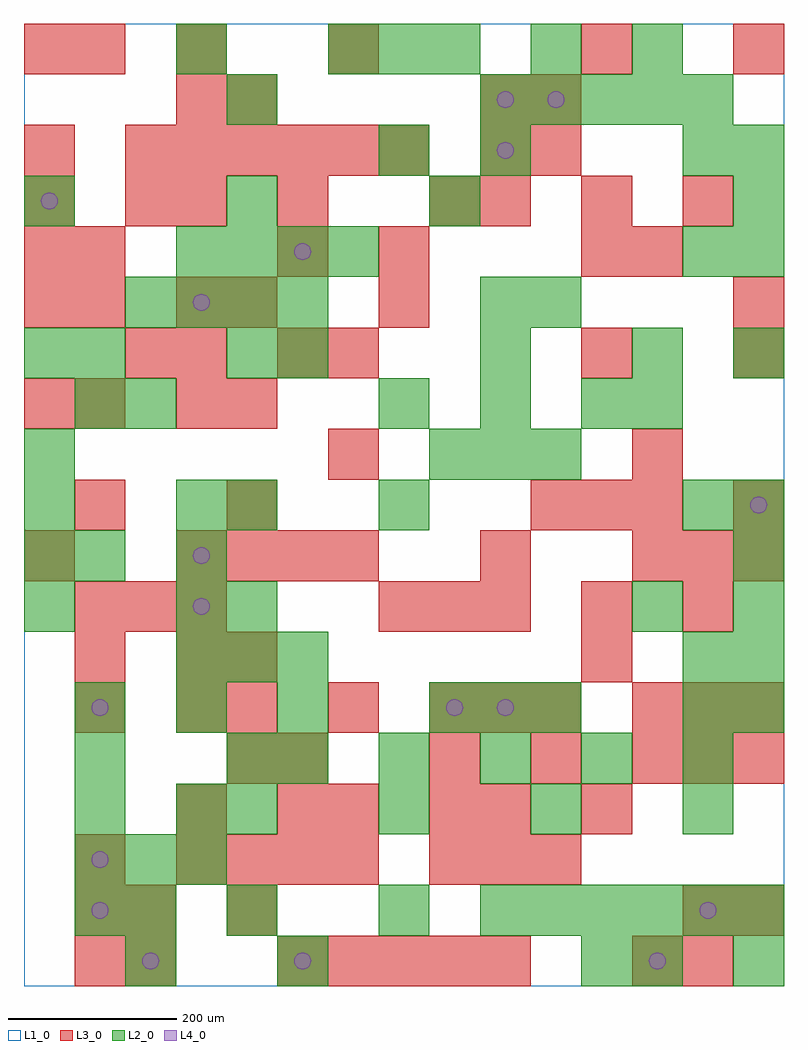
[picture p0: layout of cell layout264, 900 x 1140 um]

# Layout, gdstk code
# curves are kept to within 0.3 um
import gdstk
lib = gdstk.Library(unit=1e-6, precision=1e-09)
def R(c, l, rs):  # rectangles x0, y0, x1, y1
    for r in rs: c.add(gdstk.rectangle(r[:2], r[2:], *l))
def A(c, l, x, y, w, h, nx, ny, dx, dy):  # array of equal rectangles
    R(c, l, [(x+i*dx, y+j*dy, x+i*dx+w, y+j*dy+h) for i in range(nx) for j in range(ny)])
def P(c, l, *ps):  # polygons
    for p in ps: c.add(gdstk.Polygon(p, *l))
L1_0 = (1, 0)
L2_0 = (2, 0)
L3_0 = (3, 0)
L4_0 = (4, 0)

layout264 = lib.new_cell('layout264')
R(layout264, L1_0, [(0,0,900,1140)])
A(layout264, L2_0, 240, 60, 60, 60, 1, 3, 0, 180)
A(layout264, L2_0, 540, 60, 60, 60, 6, 1, 60, 0)
A(layout264, L2_0, 60, 120, 60, 60, 3, 1, 60, 0)
A(layout264, L2_0, 240, 180, 60, 60, 4, 1, 180, 0)
A(layout264, L2_0, 300, 240, 60, 60, 5, 1, 120, 0)
A(layout264, L2_0, 60, 300, 60, 60, 3, 1, 120, 0)
A(layout264, L2_0, 480, 300, 60, 60, 3, 2, 60, 300)
A(layout264, L2_0, 840, 300, 60, 60, 1, 5, 0, 60)
A(layout264, L2_0, 180, 360, 60, 60, 3, 1, 60, 0)
A(layout264, L2_0, 0, 420, 60, 60, 1, 4, 0, 60)
A(layout264, L2_0, 180, 420, 60, 60, 1, 3, 0, 60)
A(layout264, L2_0, 420, 660, 60, 60, 3, 1, 120, 0)
A(layout264, L2_0, 120, 780, 60, 60, 4, 1, 60, 0)
A(layout264, L2_0, 180, 840, 60, 60, 4, 1, 60, 0)
A(layout264, L2_0, 840, 840, 60, 60, 1, 3, 0, 60)
A(layout264, L2_0, 0, 900, 60, 60, 3, 1, 240, 0)
A(layout264, L2_0, 540, 1020, 60, 60, 5, 1, 60, 0)
A(layout264, L2_0, 360, 1080, 60, 60, 3, 1, 60, 0)
R(layout264, L2_0, [(120,0,180,60), (300,0,360,60), (660,0,720,60), (720,0,780,60), (840,0,900,60), (60,60,120,120), (120,60,180,120), (420,60,480,120), (60,180,120,240), (180,180,240,240), (60,240,120,300), (780,300,840,360), (780,360,840,420), (720,420,780,480), (60,480,120,540), (240,540,300,600), (420,540,480,600), (780,540,840,600), (60,660,120,720), (120,660,180,720), (720,660,780,720), (0,720,60,780), (60,720,120,780), (240,720,300,780), (300,720,360,780), (540,720,600,780), (720,720,780,780), (840,720,900,780), (540,780,600,840), (600,780,660,840), (780,840,840,900), (420,960,480,1020), (540,960,600,1020), (780,960,840,1020), (240,1020,300,1080), (180,1080,240,1140), (600,1080,660,1140), (720,1080,780,1140)])
A(layout264, L3_0, 60, 0, 60, 60, 1, 3, 0, 60)
A(layout264, L3_0, 300, 0, 60, 60, 5, 1, 60, 0)
A(layout264, L3_0, 780, 60, 60, 60, 1, 3, 0, 180)
A(layout264, L3_0, 180, 120, 60, 60, 4, 2, 60, 360)
A(layout264, L3_0, 480, 120, 60, 60, 3, 1, 60, 0)
A(layout264, L3_0, 480, 240, 60, 60, 3, 1, 120, 0)
A(layout264, L3_0, 240, 300, 60, 60, 3, 1, 120, 0)
A(layout264, L3_0, 720, 300, 60, 60, 3, 2, 60, 180)
A(layout264, L3_0, 60, 420, 60, 60, 3, 1, 60, 0)
A(layout264, L3_0, 420, 420, 60, 60, 3, 1, 60, 0)
A(layout264, L3_0, 60, 540, 60, 60, 1, 3, 0, 120)
A(layout264, L3_0, 240, 540, 60, 60, 1, 3, 0, 120)
A(layout264, L3_0, 600, 540, 60, 60, 3, 1, 60, 0)
A(layout264, L3_0, 180, 660, 60, 60, 1, 3, 0, 60)
A(layout264, L3_0, 0, 780, 60, 60, 1, 4, 0, 60)
A(layout264, L3_0, 540, 900, 60, 60, 3, 1, 120, 0)
A(layout264, L3_0, 120, 960, 60, 60, 6, 1, 60, 0)
R(layout264, L3_0, [(120,0,180,60), (720,0,780,60), (780,0,840,60), (120,60,180,120), (240,60,300,120), (840,60,900,120), (180,180,240,240), (300,180,360,240), (360,180,420,240), (480,180,540,240), (540,180,600,240), (660,180,720,240), (240,240,300,300), (300,240,360,300), (840,240,900,300), (60,300,120,360), (180,300,240,360), (540,300,600,360), (600,300,660,360), (60,360,120,420), (180,360,240,420), (240,360,300,420), (660,360,720,420), (660,420,720,480), (0,480,60,540), (540,480,600,540), (840,540,900,600), (360,600,420,660), (720,600,780,660), (0,660,60,720), (120,720,180,780), (300,720,360,780), (360,720,420,780), (660,720,720,780), (840,720,900,780), (420,780,480,840), (840,780,900,840), (60,840,120,900), (300,840,360,900), (420,840,480,900), (660,840,720,900), (720,840,780,900), (120,900,180,960), (180,900,240,960), (300,900,360,960), (480,900,540,960), (540,960,600,1020), (600,960,660,1020), (180,1020,240,1080), (240,1020,300,1080), (540,1020,600,1080), (600,1020,660,1080), (0,1080,60,1140), (60,1080,120,1140), (180,1080,240,1140), (360,1080,420,1140), (660,1080,720,1140), (840,1080,900,1140)])
P(layout264, L4_0, [(40,930),(39.239,933.827),(37.071,937.071),(33.827,939.239),(30,940),(26.173,939.239),(22.929,937.071),(20.761,933.827),(20,930),(20.761,926.173),(22.929,922.929),(26.173,920.761),(30,920),(33.827,920.761),(37.071,922.929),(39.239,926.173)],
  [(100,90),(99.239,93.827),(97.071,97.071),(93.827,99.239),(90,100),(86.173,99.239),(82.929,97.071),(80.761,93.827),(80,90),(80.761,86.173),(82.929,82.929),(86.173,80.761),(90,80),(93.827,80.761),(97.071,82.929),(99.239,86.173)],
  [(100,150),(99.239,153.827),(97.071,157.071),(93.827,159.239),(90,160),(86.173,159.239),(82.929,157.071),(80.761,153.827),(80,150),(80.761,146.173),(82.929,142.929),(86.173,140.761),(90,140),(93.827,140.761),(97.071,142.929),(99.239,146.173)],
  [(100,330),(99.239,333.827),(97.071,337.071),(93.827,339.239),(90,340),(86.173,339.239),(82.929,337.071),(80.761,333.827),(80,330),(80.761,326.173),(82.929,322.929),(86.173,320.761),(90,320),(93.827,320.761),(97.071,322.929),(99.239,326.173)],
  [(160,30),(159.239,33.827),(157.071,37.071),(153.827,39.239),(150,40),(146.173,39.239),(142.929,37.071),(140.761,33.827),(140,30),(140.761,26.173),(142.929,22.929),(146.173,20.761),(150,20),(153.827,20.761),(157.071,22.929),(159.239,26.173)],
  [(220,450),(219.239,453.827),(217.071,457.071),(213.827,459.239),(210,460),(206.173,459.239),(202.929,457.071),(200.761,453.827),(200,450),(200.761,446.173),(202.929,442.929),(206.173,440.761),(210,440),(213.827,440.761),(217.071,442.929),(219.239,446.173)],
  [(220,510),(219.239,513.827),(217.071,517.071),(213.827,519.239),(210,520),(206.173,519.239),(202.929,517.071),(200.761,513.827),(200,510),(200.761,506.173),(202.929,502.929),(206.173,500.761),(210,500),(213.827,500.761),(217.071,502.929),(219.239,506.173)],
  [(220,810),(219.239,813.827),(217.071,817.071),(213.827,819.239),(210,820),(206.173,819.239),(202.929,817.071),(200.761,813.827),(200,810),(200.761,806.173),(202.929,802.929),(206.173,800.761),(210,800),(213.827,800.761),(217.071,802.929),(219.239,806.173)],
  [(340,30),(339.239,33.827),(337.071,37.071),(333.827,39.239),(330,40),(326.173,39.239),(322.929,37.071),(320.761,33.827),(320,30),(320.761,26.173),(322.929,22.929),(326.173,20.761),(330,20),(333.827,20.761),(337.071,22.929),(339.239,26.173)],
  [(340,870),(339.239,873.827),(337.071,877.071),(333.827,879.239),(330,880),(326.173,879.239),(322.929,877.071),(320.761,873.827),(320,870),(320.761,866.173),(322.929,862.929),(326.173,860.761),(330,860),(333.827,860.761),(337.071,862.929),(339.239,866.173)],
  [(520,330),(519.239,333.827),(517.071,337.071),(513.827,339.239),(510,340),(506.173,339.239),(502.929,337.071),(500.761,333.827),(500,330),(500.761,326.173),(502.929,322.929),(506.173,320.761),(510,320),(513.827,320.761),(517.071,322.929),(519.239,326.173)],
  [(580,330),(579.239,333.827),(577.071,337.071),(573.827,339.239),(570,340),(566.173,339.239),(562.929,337.071),(560.761,333.827),(560,330),(560.761,326.173),(562.929,322.929),(566.173,320.761),(570,320),(573.827,320.761),(577.071,322.929),(579.239,326.173)],
  [(580,990),(579.239,993.827),(577.071,997.071),(573.827,999.239),(570,1000),(566.173,999.239),(562.929,997.071),(560.761,993.827),(560,990),(560.761,986.173),(562.929,982.929),(566.173,980.761),(570,980),(573.827,980.761),(577.071,982.929),(579.239,986.173)],
  [(580,1050),(579.239,1053.827),(577.071,1057.071),(573.827,1059.239),(570,1060),(566.173,1059.239),(562.929,1057.071),(560.761,1053.827),(560,1050),(560.761,1046.173),(562.929,1042.929),(566.173,1040.761),(570,1040),(573.827,1040.761),(577.071,1042.929),(579.239,1046.173)],
  [(640,1050),(639.239,1053.827),(637.071,1057.071),(633.827,1059.239),(630,1060),(626.173,1059.239),(622.929,1057.071),(620.761,1053.827),(620,1050),(620.761,1046.173),(622.929,1042.929),(626.173,1040.761),(630,1040),(633.827,1040.761),(637.071,1042.929),(639.239,1046.173)],
  [(760,30),(759.239,33.827),(757.071,37.071),(753.827,39.239),(750,40),(746.173,39.239),(742.929,37.071),(740.761,33.827),(740,30),(740.761,26.173),(742.929,22.929),(746.173,20.761),(750,20),(753.827,20.761),(757.071,22.929),(759.239,26.173)],
  [(820,90),(819.239,93.827),(817.071,97.071),(813.827,99.239),(810,100),(806.173,99.239),(802.929,97.071),(800.761,93.827),(800,90),(800.761,86.173),(802.929,82.929),(806.173,80.761),(810,80),(813.827,80.761),(817.071,82.929),(819.239,86.173)],
  [(880,570),(879.239,573.827),(877.071,577.071),(873.827,579.239),(870,580),(866.173,579.239),(862.929,577.071),(860.761,573.827),(860,570),(860.761,566.173),(862.929,562.929),(866.173,560.761),(870,560),(873.827,560.761),(877.071,562.929),(879.239,566.173)])

lib.write_gds('layout264.gds')
